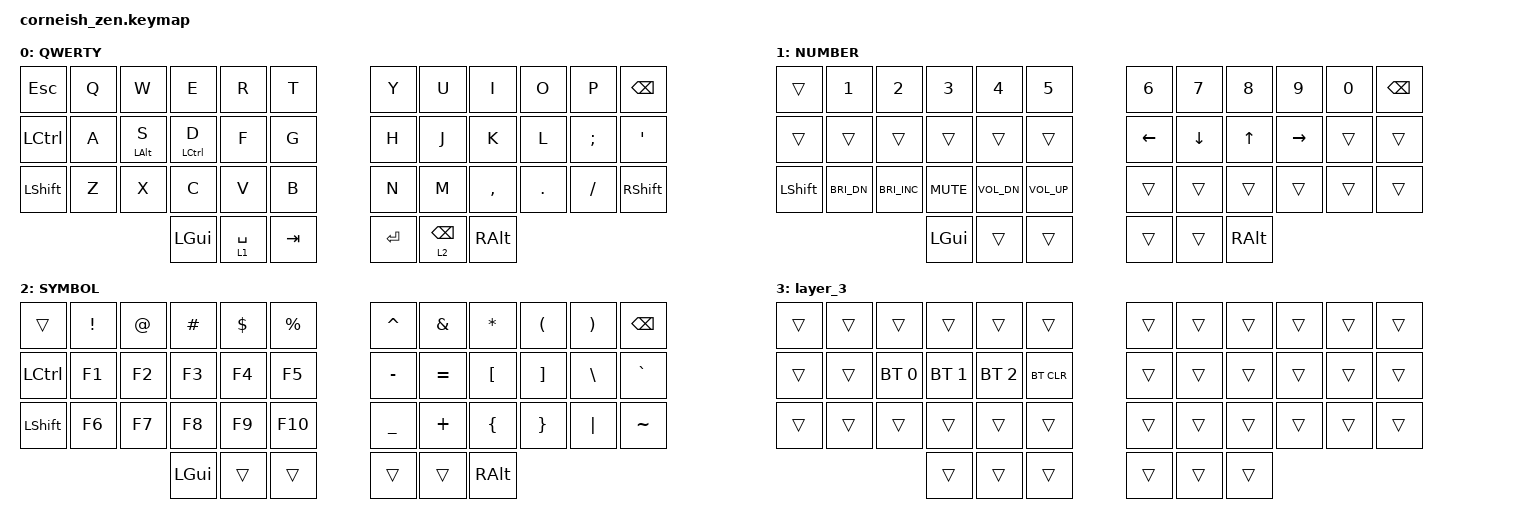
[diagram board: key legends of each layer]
/*
*
* Copyright (c) 2021 Darryl deHaan
* SPDX-License-Identifier: MIT
*
*/

#include <behaviors.dtsi>
#include <dt-bindings/zmk/bt.h>
#include <dt-bindings/zmk/keys.h>

/ {
    chosen {
        zmk,physical-layout = &foostan_corne_6col_layout;

        // zmk,physical-layout = &foostan_corne_5col_layout;
    };
};

/ {
    combos {
        compatible = "zmk,combos";

        lang {
            bindings = <&kp LC(SPACE)>;
            key-positions = <8 9>;
        };

        esc {
            bindings = <&kp ESC>;
            key-positions = <1 2>;
        };

        bluetooth {
            bindings = <&mo 3>;
            key-positions = <37 36>;
        };
    };

    keymap {
        compatible = "zmk,keymap";

        default_layer {
            display-name = "QWERTY";

            // --------------------------------------------------------------------------------
            // |  TAB |  Q  |  W  |  E  |  R  |  T  |   |  Y  |  U   |  I  |  O  |  P  | BSPC |
            // | CTRL |  A  |  S  |  D  |  F  |  G  |   |  H  |  J   |  K  |  L  |  ;  |  '   |
            // | SHFT |  Z  |  X  |  C  |  V  |  B  |   |  N  |  M   |  ,  |  .  |  /  | ESC  |
            //                    | GUI | LWR | SPC |   | ENT | RSE  | ALT |

            bindings = <
&kp ESC    &kp Q  &kp W           &kp E        &kp R        &kp T      &kp Y    &kp U            &kp I      &kp O    &kp P          &kp BSPC
&kp LCTRL  &kp A  &mt LEFT_ALT S  &mt LCTRL D  &kp F        &kp G      &kp H    &kp J            &kp K      &kp L    &kp SEMICOLON  &kp SQT
&kp LSHFT  &kp Z  &kp X           &kp C        &kp V        &kp B      &kp N    &kp M            &kp COMMA  &kp DOT  &kp FSLH       &kp RSHFT
                                  &kp LGUI     &lt 1 SPACE  &kp TAB    &kp RET  &lt 2 BACKSPACE  &kp RALT
            >;
        };

        lower_layer {
            display-name = "NUMBER";

            // -----------------------------------------------------------------------------------------
            // |  TAB |  1  |  2  |  3  |  4  |  5  |   |  6  |  7  |  8  |  9  |  0  | BSPC |
            // | BTCLR| BT1 | BT2 | BT3 | BT4 | BT5 |   | LFT | DWN |  UP | RGT |     |      |
            // | SHFT |     |     |     |     |     |   |     |     |     |     |     |      |
            //                    | GUI |     | SPC |   | ENT |     | ALT |

            bindings = <
&trans     &kp N1        &kp N2         &kp N3      &kp N4        &kp N5          &kp N6    &kp N7    &kp N8    &kp N9     &kp N0  &kp BSPC
&trans     &trans        &trans         &trans      &trans        &trans          &kp LEFT  &kp DOWN  &kp UP    &kp RIGHT  &trans  &trans
&kp LSHFT  &kp C_BRI_DN  &kp C_BRI_INC  &kp C_MUTE  &kp C_VOL_DN  &kp C_VOL_UP    &trans    &trans    &trans    &trans     &trans  &trans
                                        &kp LGUI    &trans        &trans          &trans    &trans    &kp RALT
            >;
        };

        raise_layer {
            display-name = "SYMBOL";

            // -----------------------------------------------------------------------------------------
            // |  TAB |  !  |  @  |  #  |  $  |  %  |   |  ^  |  &  |  *  |  (  |  )  | BSPC |
            // | CTRL |     |     |     |     |     |   |  -  |  =  |  [  |  ]  |  \  |  `   |
            // | SHFT |     |     |     |     |     |   |  _  |  +  |  {  |  }  | "|" |  ~   |
            //                    | GUI |     | SPC |   | ENT |     | ALT |

            bindings = <
&trans     &kp EXCL  &kp AT  &kp HASH  &kp DLLR  &kp PRCNT    &kp CARET  &kp AMPS   &kp ASTRK  &kp LPAR  &kp RPAR  &kp BSPC
&kp LCTRL  &kp F1    &kp F2  &kp F3    &kp F4    &kp F5       &kp MINUS  &kp EQUAL  &kp LBKT   &kp RBKT  &kp BSLH  &kp GRAVE
&kp LSHFT  &kp F6    &kp F7  &kp F8    &kp F9    &kp F10      &kp UNDER  &kp PLUS   &kp LBRC   &kp RBRC  &kp PIPE  &kp TILDE
                             &kp LGUI  &trans    &trans       &trans     &trans     &kp RALT
            >;
        };

        layer_3 {
            bindings = <
&trans  &trans  &trans        &trans        &trans        &trans        &trans  &trans  &trans  &trans  &trans  &trans
&trans  &trans  &bt BT_SEL 0  &bt BT_SEL 1  &bt BT_SEL 2  &bt BT_CLR    &trans  &trans  &trans  &trans  &trans  &trans
&trans  &trans  &trans        &trans        &trans        &trans        &trans  &trans  &trans  &trans  &trans  &trans
                              &trans        &trans        &trans        &trans  &trans  &trans
            >;
        };
    };
};
